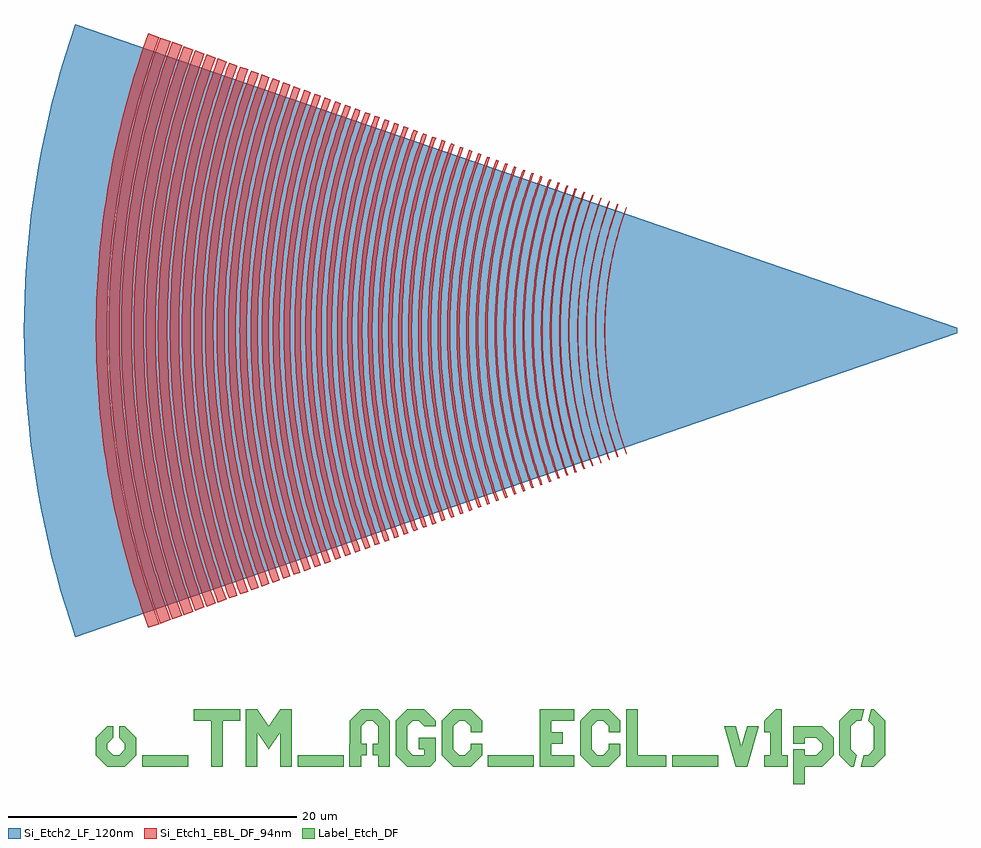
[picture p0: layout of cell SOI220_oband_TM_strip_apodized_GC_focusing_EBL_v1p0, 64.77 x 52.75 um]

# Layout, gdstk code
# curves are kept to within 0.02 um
import gdstk
lib = gdstk.Library(unit=1e-6, precision=1e-09)
def R(c, l, rs):  # rectangles x0, y0, x1, y1
    for r in rs: c.add(gdstk.rectangle(r[:2], r[2:], *l))
def P(c, l, *ps):  # polygons
    for p in ps: c.add(gdstk.Polygon(p, *l))
Si_Etch2_LF_120nm = (3, 0)
Si_Etch1_EBL_DF_94nm = (60, 0)
Label_Etch_DF = (100, 0)

text_gdsfactorypcomponen = lib.new_cell('text_gdsfactorypcomponentsptextsptext_To_TM_AGC_ECL_v1p_81876495')
R(text_gdsfactorypcomponen, Label_Etch_DF, [(3.6,0,6.8,0.8), (14.4,0,17.6,0.8), (27.6,0,30.8,0.8), (40.4,0,43.6,0.8)])
P(text_gdsfactorypcomponen, Label_Etch_DF, [(1.2,0),(0.4,0.8),(0.4,2),(1.2,2.8),(1.6,2.8),(1.6,2),(1.2,1.6),(1.2,1.2),(1.6,0.8),(2,0.8),(2.4,1.2),(2.4,1.6),(2,2),(2,2.8),(2.4,2.8),(3.2,2),(3.2,0.8),(2.4,0)],
  [(44.8,0),(44,2.8),(44.8,2.8),(45.2,1.4),(45.6,2.8),(46.4,2.8),(45.6,0)],
  [(48.8,-1.2),(48.8,1.2),(49.6,1.2),(49.6,0.8),(50.4,0.8),(50.8,1.2),(50.8,1.6),(50.4,2),(49.6,2),(49.6,1.6),(48.8,1.6),(48.8,2.8),(50.8,2.8),(51.6,2),(51.6,0.8),(50.8,0),(49.6,0),(49.6,-1.2)],
  [(8.4,0),(8.4,3.2),(7.2,3.2),(7.2,4),(10.4,4),(10.4,3.2),(9.2,3.2),(9.2,0)],
  [(10.8,0),(10.8,4),(11.6,4),(12.4,2.8),(13.2,4),(14,4),(14,0),(13.2,0),(13.2,2.4),(12.4,1.2),(11.6,2.4),(11.6,0)],
  [(17.996,0),(18,3.2),(18.8,4),(20.004,4),(20.8,3.2),(20.8,0),(20.004,0),(20.004,0.8),(19.6,0.8),(19.6,1.6),(20.004,1.6),(20.004,2.8),(19.6,3.2),(19.2,3.2),(18.8,2.8),(18.8,1.6),(19.2,1.6),(19.2,0.8),(18.8,0.8),(18.8,0)],
  [(22,0),(21.2,0.8),(21.2,3.2),(22,4),(23.2,4),(24,3.2),(24,2.8),(23.2,2.8),(22.8,3.2),(22.4,3.2),(22,2.8),(22,1.2),(22.4,0.8),(23.2,0.8),(23.2,1.2),(22.8,1.2),(22.8,2),(24,2),(24,0.4),(23.6,0)],
  [(25.2,0),(24.4,0.8),(24.4,3.2),(25.2,4),(26.4,4),(27.2,3.2),(27.2,2.4),(26.4,2.4),(26.4,2.8),(26,3.2),(25.6,3.2),(25.2,2.8),(25.2,1.2),(25.6,0.8),(26,0.8),(26.4,1.2),(26.4,1.6),(27.2,1.6),(27.2,0.8),(26.4,0)],
  [(31.2,0),(31.2,4),(33.6,4),(33.6,3.2),(32,3.2),(32,2.4),(32.8,2.4),(32.8,1.6),(32,1.6),(32,0.8),(33.6,0.8),(33.6,0)],
  [(34.8,0),(34,0.8),(34,3.2),(34.8,4),(36,4),(36.8,3.2),(36.8,2.4),(36,2.4),(36,2.8),(35.6,3.2),(35.2,3.2),(34.8,2.8),(34.8,1.2),(35.2,0.8),(35.6,0.8),(36,1.2),(36,1.6),(36.8,1.6),(36.8,0.8),(36,0)],
  [(37.2,0),(37.2,4),(38,4),(38,0.8),(40,0.8),(40,0)],
  [(46.8,0),(46.8,0.8),(47.2,0.8),(47.2,2.4),(46.8,2.4),(46.8,3.2),(47.6,4),(48,4),(48,0.8),(48.4,0.8),(48.4,0)],
  [(52.8,0),(52,0.8),(52,3.2),(52.8,4),(53.72,4),(53.52,3.2),(53.2,3.2),(52.8,2.8),(52.8,1.2),(53.2,0.8),(53,0)],
  [(53.48,0),(53.68,0.8),(54,0.8),(54.4,1.2),(54.4,2.8),(54,3.2),(54.2,4),(54.4,4),(55.2,3.2),(55.2,0.8),(54.4,0)])

soi220_oband_tm_strip_ap = lib.new_cell('SOI220_oband_TM_strip_apodized_GC_focusing_EBL_v1p0')
P(soi220_oband_tm_strip_ap, Si_Etch2_LF_120nm, [(-61.209,-21.276),(-61.914,-19.106),(-62.828,-15.81),(-63.341,-13.587),(-63.776,-11.348),(-64.282,-7.964),(-64.52,-5.696),(-64.61,-4.559),(-64.729,-2.281),(-64.769,0),(-64.729,2.281),(-64.61,4.559),(-64.52,5.696),(-64.282,7.964),(-63.776,11.348),(-63.341,13.587),(-62.828,15.81),(-61.914,19.106),(-61.209,21.276),(0,0.2),(0,-0.2)])
P(soi220_oband_tm_strip_ap, Si_Etch1_EBL_DF_94nm, [(-22.967,-8.571),(-23.114,-8.159),(-23.319,-7.536),(-23.509,-6.908),(-23.625,-6.486),(-23.885,-5.424),(-24.019,-4.781),(-24.098,-4.351),(-24.203,-3.704),(-24.293,-3.054),(-24.384,-2.184),(-24.455,-1.093),(-24.479,0),(-24.455,1.093),(-24.384,2.184),(-24.293,3.054),(-24.203,3.704),(-24.098,4.351),(-24.019,4.781),(-23.885,5.424),(-23.625,6.486),(-23.509,6.908),(-23.319,7.536),(-23.114,8.159),(-22.967,8.571),(-22.911,8.551),(-23.127,7.933),(-23.327,7.309),(-23.51,6.681),(-23.676,6.048),(-23.873,5.198),(-24.076,4.126),(-24.233,3.047),(-24.324,2.179),(-24.395,1.09),(-24.419,0),(-24.395,-1.09),(-24.324,-2.179),(-24.233,-3.047),(-24.076,-4.126),(-23.873,-5.198),(-23.676,-6.048),(-23.51,-6.681),(-23.327,-7.309),(-23.127,-7.933),(-22.911,-8.551)],
  [(-23.572,-8.79),(-23.931,-7.729),(-24.126,-7.085),(-24.245,-6.653),(-24.512,-5.563),(-24.649,-4.905),(-24.73,-4.463),(-24.901,-3.355),(-24.981,-2.686),(-25.023,-2.24),(-25.059,-1.793),(-25.097,-1.121),(-25.121,0),(-25.097,1.121),(-25.059,1.793),(-25.023,2.24),(-24.981,2.686),(-24.901,3.355),(-24.73,4.463),(-24.649,4.905),(-24.512,5.563),(-24.245,6.653),(-24.126,7.085),(-23.931,7.729),(-23.572,8.79),(-23.515,8.77),(-23.736,8.136),(-23.941,7.497),(-24.128,6.853),(-24.299,6.203),(-24.501,5.331),(-24.632,4.673),(-24.709,4.232),(-24.87,3.125),(-24.921,2.68),(-24.982,2.012),(-25.037,1.118),(-25.061,0),(-25.037,-1.118),(-24.982,-2.012),(-24.921,-2.68),(-24.87,-3.125),(-24.709,-4.232),(-24.632,-4.673),(-24.501,-5.331),(-24.299,-6.203),(-24.128,-6.853),(-23.941,-7.497),(-23.736,-8.136),(-23.515,-8.77)],
  [(-24.153,-9.002),(-24.307,-8.57),(-24.523,-7.915),(-24.722,-7.255),(-24.844,-6.812),(-24.959,-6.368),(-25.117,-5.697),(-25.213,-5.248),(-25.341,-4.57),(-25.452,-3.891),(-25.515,-3.436),(-25.572,-2.98),(-25.641,-2.294),(-25.677,-1.836),(-25.716,-1.149),(-25.732,-0.689),(-25.741,0),(-25.732,0.689),(-25.716,1.149),(-25.692,1.607),(-25.641,2.294),(-25.572,2.98),(-25.515,3.436),(-25.452,3.891),(-25.341,4.57),(-25.213,5.248),(-25.117,5.697),(-24.959,6.368),(-24.844,6.812),(-24.722,7.255),(-24.523,7.915),(-24.307,8.57),(-24.153,9.002),(-24.097,8.982),(-24.396,8.115),(-24.6,7.459),(-24.901,6.353),(-25.008,5.908),(-25.154,5.236),(-25.321,4.334),(-25.393,3.882),(-25.485,3.201),(-25.581,2.289),(-25.617,1.832),(-25.656,1.146),(-25.677,0.458),(-25.681,0),(-25.677,-0.458),(-25.656,-1.146),(-25.617,-1.832),(-25.581,-2.289),(-25.485,-3.201),(-25.393,-3.882),(-25.321,-4.334),(-25.154,-5.236),(-25.008,-5.908),(-24.901,-6.353),(-24.6,-7.459),(-24.396,-8.115),(-24.097,-8.982)],
  [(-24.735,-9.214),(-24.892,-8.772),(-25.113,-8.101),(-25.251,-7.652),(-25.442,-6.973),(-25.56,-6.517),(-25.722,-5.831),(-25.951,-4.678),(-26.064,-3.982),(-26.16,-3.283),(-26.258,-2.348),(-26.295,-1.879),(-26.334,-1.176),(-26.351,-0.706),(-26.36,0),(-26.351,0.706),(-26.334,1.176),(-26.295,1.879),(-26.258,2.348),(-26.16,3.283),(-26.064,3.982),(-25.951,4.678),(-25.722,5.831),(-25.56,6.517),(-25.442,6.973),(-25.251,7.652),(-25.113,8.101),(-24.892,8.772),(-24.735,9.214),(-24.679,9.194),(-24.911,8.529),(-25.125,7.859),(-25.322,7.184),(-25.502,6.503),(-25.713,5.589),(-25.892,4.668),(-26.005,3.973),(-26.07,3.509),(-26.153,2.81),(-26.198,2.343),(-26.235,1.875),(-26.274,1.173),(-26.291,0.704),(-26.3,0),(-26.291,-0.704),(-26.274,-1.173),(-26.235,-1.875),(-26.198,-2.343),(-26.153,-2.81),(-26.07,-3.509),(-26.005,-3.973),(-25.892,-4.668),(-25.713,-5.589),(-25.502,-6.503),(-25.322,-7.184),(-25.125,-7.859),(-24.911,-8.529),(-24.679,-9.194)],
  [(-25.32,-9.427),(-25.707,-8.288),(-26.043,-7.133),(-26.328,-5.965),(-26.476,-5.26),(-26.563,-4.786),(-26.746,-3.597),(-26.877,-2.402),(-26.956,-1.202),(-26.982,0),(-26.956,1.202),(-26.877,2.402),(-26.746,3.597),(-26.563,4.786),(-26.476,5.26),(-26.328,5.965),(-26.043,7.133),(-25.707,8.288),(-25.32,9.427),(-25.253,9.403),(-25.49,8.723),(-25.71,8.038),(-25.911,7.347),(-26.094,6.651),(-26.359,5.481),(-26.534,4.537),(-26.706,3.35),(-26.826,2.157),(-26.885,1.199),(-26.911,0),(-26.885,-1.199),(-26.826,-2.157),(-26.706,-3.35),(-26.534,-4.537),(-26.359,-5.481),(-26.094,-6.651),(-25.911,-7.347),(-25.71,-8.038),(-25.49,-8.723),(-25.253,-9.403)],
  [(-25.922,-9.645),(-26.317,-8.481),(-26.724,-7.062),(-27.006,-5.863),(-27.236,-4.655),(-27.412,-3.437),(-27.515,-2.458),(-27.595,-1.231),(-27.622,0),(-27.595,1.231),(-27.515,2.458),(-27.412,3.437),(-27.236,4.655),(-27.006,5.863),(-26.724,7.062),(-26.317,8.481),(-25.922,9.645),(-25.821,9.609),(-26.215,8.449),(-26.558,7.272),(-26.849,6.081),(-27.13,4.637),(-27.306,3.424),(-27.408,2.449),(-27.488,1.226),(-27.515,0),(-27.488,-1.226),(-27.408,-2.449),(-27.306,-3.424),(-27.13,-4.637),(-26.849,-6.081),(-26.558,-7.272),(-26.215,-8.449),(-25.821,-9.609)],
  [(-26.52,-9.864),(-26.925,-8.673),(-27.276,-7.465),(-27.575,-6.242),(-27.821,-5.008),(-28.012,-3.765),(-28.15,-2.513),(-28.232,-1.258),(-28.259,0),(-28.232,1.258),(-28.15,2.513),(-28.012,3.765),(-27.821,5.008),(-27.575,6.242),(-27.276,7.465),(-26.925,8.673),(-26.52,9.864),(-26.409,9.824),(-26.812,8.637),(-27.226,7.191),(-27.513,5.972),(-27.747,4.74),(-27.927,3.5),(-28.032,2.503),(-28.114,1.253),(-28.141,0),(-28.114,-1.253),(-28.032,-2.503),(-27.927,-3.5),(-27.747,-4.74),(-27.513,-5.972),(-27.226,-7.191),(-26.812,-8.637),(-26.409,-9.824)],
  [(-27.105,-10.076),(-27.518,-8.86),(-27.877,-7.626),(-28.238,-6.125),(-28.433,-5.116),(-28.629,-3.846),(-28.769,-2.568),(-28.853,-1.285),(-28.881,0),(-28.853,1.285),(-28.769,2.568),(-28.629,3.846),(-28.433,5.116),(-28.238,6.125),(-27.877,7.626),(-27.518,8.86),(-27.105,10.076),(-27,10.039),(-27.412,8.826),(-27.835,7.349),(-28.129,6.102),(-28.409,4.592),(-28.551,3.577),(-28.68,2.303),(-28.742,1.28),(-28.77,0),(-28.742,-1.28),(-28.68,-2.303),(-28.551,-3.577),(-28.409,-4.592),(-28.129,-6.102),(-27.835,-7.349),(-27.412,-8.826),(-27,-10.039)],
  [(-27.715,-10.298),(-28.137,-9.054),(-28.504,-7.793),(-28.817,-6.517),(-29.073,-5.228),(-29.273,-3.93),(-29.438,-2.362),(-29.512,-1.051),(-29.53,0),(-29.512,1.051),(-29.438,2.362),(-29.273,3.93),(-29.073,5.228),(-28.817,6.517),(-28.504,7.793),(-28.137,9.054),(-27.715,10.298),(-27.583,10.251),(-28.003,9.012),(-28.369,7.757),(-28.68,6.487),(-28.979,4.947),(-29.167,3.653),(-29.298,2.351),(-29.372,1.046),(-29.39,0),(-29.372,-1.046),(-29.298,-2.351),(-29.167,-3.653),(-28.979,-4.947),(-28.68,-6.487),(-28.369,-7.757),(-28.003,-9.012),(-27.583,-10.251)],
  [(-28.309,-10.515),(-28.74,-9.245),(-29.115,-7.957),(-29.434,-6.654),(-29.696,-5.339),(-29.9,-4.013),(-30.046,-2.68),(-30.134,-1.341),(-30.163,0),(-30.134,1.341),(-30.046,2.68),(-29.9,4.013),(-29.696,5.339),(-29.434,6.654),(-29.115,7.957),(-28.74,9.245),(-28.309,10.515),(-28.184,10.47),(-28.613,9.205),(-28.987,7.923),(-29.361,6.364),(-29.61,5.052),(-29.802,3.731),(-29.914,2.668),(-30.001,1.335),(-30.03,0),(-30.001,-1.335),(-29.914,-2.668),(-29.802,-3.731),(-29.61,-5.052),(-29.361,-6.364),(-28.987,-7.923),(-28.613,-9.205),(-28.184,-10.47)],
  [(-28.918,-10.737),(-29.359,-9.44),(-29.742,-8.125),(-30.068,-6.795),(-30.335,-5.451),(-30.544,-4.098),(-30.716,-2.463),(-30.793,-1.096),(-30.812,0),(-30.793,1.096),(-30.716,2.463),(-30.544,4.098),(-30.335,5.451),(-30.068,6.795),(-29.742,8.125),(-29.359,9.44),(-28.918,10.737),(-28.783,10.688),(-29.222,9.397),(-29.673,7.824),(-29.985,6.497),(-30.239,5.158),(-30.435,3.808),(-30.572,2.452),(-30.649,1.091),(-30.668,0),(-30.649,-1.091),(-30.572,-2.452),(-30.435,-3.808),(-30.239,-5.158),(-29.985,-6.497),(-29.673,-7.824),(-29.222,-9.397),(-28.783,-10.688)],
  [(-29.522,-10.955),(-29.97,-9.633),(-30.361,-8.291),(-30.694,-6.933),(-30.967,-5.563),(-31.179,-4.182),(-31.331,-2.792),(-31.423,-1.397),(-31.453,0),(-31.423,1.397),(-31.331,2.792),(-31.179,4.182),(-30.967,5.563),(-30.694,6.933),(-30.361,8.291),(-29.97,9.633),(-29.522,10.955),(-29.387,10.907),(-29.917,9.324),(-30.294,7.985),(-30.613,6.631),(-30.873,5.264),(-31.072,3.887),(-31.212,2.502),(-31.291,1.113),(-31.31,0),(-31.291,-1.113),(-31.212,-2.502),(-31.072,-3.887),(-30.873,-5.264),(-30.613,-6.631),(-30.294,-7.985),(-29.917,-9.324),(-29.387,-10.907)],
  [(-30.126,-11.176),(-30.585,-9.827),(-30.984,-8.458),(-31.322,-7.073),(-31.601,-5.674),(-31.818,-4.266),(-31.997,-2.564),(-32.066,-1.426),(-32.097,0),(-32.066,1.426),(-31.997,2.564),(-31.818,4.266),(-31.601,5.674),(-31.322,7.073),(-30.984,8.458),(-30.585,9.827),(-30.126,11.176),(-29.984,11.125),(-30.441,9.781),(-30.91,8.144),(-31.293,6.485),(-31.546,5.088),(-31.704,3.964),(-31.846,2.552),(-31.915,1.419),(-31.946,0),(-31.915,-1.419),(-31.846,-2.552),(-31.704,-3.964),(-31.546,-5.088),(-31.293,-6.485),(-30.91,-8.144),(-30.441,-9.781),(-29.984,-11.125)],
  [(-30.742,-11.399),(-31.209,-10.023),(-31.616,-8.627),(-31.962,-7.214),(-32.246,-5.788),(-32.467,-4.351),(-32.625,-2.905),(-32.72,-1.454),(-32.752,0),(-32.72,1.454),(-32.625,2.905),(-32.467,4.351),(-32.246,5.788),(-31.962,7.214),(-31.616,8.627),(-31.209,10.023),(-30.742,11.399),(-30.588,11.344),(-31.139,9.698),(-31.531,8.305),(-31.922,6.613),(-32.18,5.189),(-32.375,3.755),(-32.486,2.602),(-32.568,1.158),(-32.588,0),(-32.568,-1.158),(-32.486,-2.602),(-32.375,-3.755),(-32.18,-5.189),(-31.922,-6.613),(-31.531,-8.305),(-31.139,-9.698),(-30.588,-11.344)],
  [(-31.364,-11.625),(-31.84,-10.222),(-32.255,-8.799),(-32.607,-7.358),(-32.896,-5.902),(-33.123,-4.437),(-33.283,-2.963),(-33.381,-1.482),(-33.413,0),(-33.381,1.482),(-33.283,2.963),(-33.123,4.437),(-32.896,5.902),(-32.607,7.358),(-32.255,8.799),(-31.84,10.222),(-31.364,11.625),(-31.198,11.566),(-31.672,10.169),(-32.16,8.467),(-32.498,7.031),(-32.821,5.29),(-33.02,3.828),(-33.133,2.653),(-33.205,1.475),(-33.237,0),(-33.205,-1.475),(-33.133,-2.653),(-33.02,-3.828),(-32.821,-5.29),(-32.498,-7.031),(-32.16,-8.467),(-31.672,-10.169),(-31.198,-11.566)],
  [(-31.984,-11.852),(-32.47,-10.421),(-32.893,-8.969),(-33.253,-7.501),(-33.547,-6.018),(-33.777,-4.523),(-33.942,-3.02),(-34.041,-1.512),(-34.074,0),(-34.041,1.512),(-33.942,3.02),(-33.777,4.523),(-33.547,6.018),(-33.253,7.501),(-32.893,8.969),(-32.47,10.421),(-31.984,11.852),(-31.81,11.789),(-32.294,10.365),(-32.791,8.631),(-33.136,7.167),(-33.465,5.392),(-33.632,4.201),(-33.783,2.704),(-33.868,1.203),(-33.889,0),(-33.868,-1.203),(-33.783,-2.704),(-33.632,-4.201),(-33.465,-5.392),(-33.136,-7.167),(-32.791,-8.631),(-32.294,-10.365),(-31.81,-11.789)],
  [(-32.602,-12.077),(-33.098,-10.618),(-33.528,-9.139),(-33.895,-7.643),(-34.195,-6.132),(-34.43,-4.609),(-34.597,-3.078),(-34.699,-1.541),(-34.732,0),(-34.699,1.541),(-34.597,3.078),(-34.43,4.609),(-34.195,6.132),(-33.895,7.643),(-33.528,9.139),(-33.098,10.618),(-32.602,12.077),(-32.42,12.011),(-32.913,10.56),(-33.419,8.793),(-33.771,7.302),(-34.106,5.494),(-34.312,3.976),(-34.43,2.755),(-34.517,1.226),(-34.538,0),(-34.517,-1.226),(-34.43,-2.755),(-34.312,-3.976),(-34.106,-5.494),(-33.771,-7.302),(-33.419,-8.793),(-32.913,-10.56),(-32.42,-12.011)],
  [(-33.225,-12.303),(-33.729,-10.818),(-34.168,-9.311),(-34.541,-7.787),(-34.848,-6.247),(-35.086,-4.696),(-35.257,-3.135),(-35.36,-1.569),(-35.394,0),(-35.36,1.569),(-35.257,3.135),(-35.086,4.696),(-34.848,6.247),(-34.541,7.787),(-34.168,9.311),(-33.729,10.818),(-33.225,12.303),(-33.031,12.234),(-33.533,10.756),(-34.049,8.956),(-34.47,7.131),(-34.748,5.596),(-34.958,4.049),(-35.078,2.806),(-35.154,1.56),(-35.188,0),(-35.154,-1.56),(-35.078,-2.806),(-34.958,-4.049),(-34.748,-5.596),(-34.47,-7.131),(-34.049,-8.956),(-33.533,-10.756),(-33.031,-12.234)],
  [(-33.851,-12.531),(-34.365,-11.019),(-34.812,-9.484),(-35.193,-7.931),(-35.505,-6.363),(-35.747,-4.783),(-35.921,-3.193),(-36.026,-1.599),(-36.061,0),(-36.026,1.599),(-35.921,3.193),(-35.747,4.783),(-35.505,6.363),(-35.193,7.931),(-34.812,9.484),(-34.365,11.019),(-33.851,12.531),(-33.645,12.457),(-34.156,10.953),(-34.682,9.12),(-35.111,7.262),(-35.394,5.698),(-35.571,4.439),(-35.73,2.858),(-35.82,1.271),(-35.842,0),(-35.82,-1.271),(-35.73,-2.858),(-35.571,-4.439),(-35.394,-5.698),(-35.111,-7.262),(-34.682,-9.12),(-34.156,-10.953),(-33.645,-12.457)],
  [(-34.484,-12.761),(-35.007,-11.221),(-35.462,-9.658),(-35.85,-8.076),(-36.168,-6.479),(-36.415,-4.87),(-36.592,-3.252),(-36.699,-1.628),(-36.734,0),(-36.699,1.628),(-36.592,3.252),(-36.415,4.87),(-36.168,6.479),(-35.85,8.076),(-35.462,9.658),(-35.007,11.221),(-34.484,12.761),(-34.266,12.683),(-34.882,10.842),(-35.321,9.285),(-35.758,7.393),(-36.045,5.801),(-36.226,4.519),(-36.388,2.909),(-36.467,1.618),(-36.502,0),(-36.467,-1.618),(-36.388,-2.909),(-36.226,-4.519),(-36.045,-5.801),(-35.758,-7.393),(-35.321,-9.285),(-34.882,-10.842),(-34.266,-12.683)],
  [(-35.121,-12.994),(-35.655,-11.425),(-36.119,-9.834),(-36.512,-8.223),(-36.836,-6.597),(-37.088,-4.959),(-37.268,-3.312),(-37.377,-1.658),(-37.413,0),(-37.377,1.658),(-37.268,3.312),(-37.088,4.959),(-36.836,6.597),(-36.512,8.223),(-36.119,9.834),(-35.655,11.425),(-35.121,12.994),(-34.891,12.911),(-35.519,11.037),(-35.966,9.452),(-36.41,7.526),(-36.703,5.905),(-36.887,4.6),(-37.052,2.962),(-37.145,1.317),(-37.168,0),(-37.145,-1.317),(-37.052,-2.962),(-36.887,-4.6),(-36.703,-5.905),(-36.41,-7.526),(-35.966,-9.452),(-35.519,-11.037),(-34.891,-12.911)],
  [(-35.766,-13.227),(-36.308,-11.631),(-36.78,-10.011),(-37.181,-8.372),(-37.51,-6.717),(-37.767,-5.049),(-37.951,-3.372),(-38.061,-1.688),(-38.098,0),(-38.061,1.688),(-37.951,3.372),(-37.767,5.049),(-37.51,6.717),(-37.181,8.372),(-36.78,10.011),(-36.308,11.631),(-35.766,13.227),(-35.522,13.14),(-36.061,11.553),(-36.615,9.62),(-37.068,7.66),(-37.366,6.01),(-37.553,4.682),(-37.721,3.014),(-37.816,1.341),(-37.839,0),(-37.816,-1.341),(-37.721,-3.014),(-37.553,-4.682),(-37.366,-6.01),(-37.068,-7.66),(-36.615,-9.62),(-36.061,-11.553),(-35.522,-13.14)],
  [(-36.414,-13.464),(-36.965,-11.839),(-37.447,-10.19),(-37.855,-8.521),(-38.19,-6.836),(-38.452,-5.139),(-38.638,-3.432),(-38.751,-1.717),(-38.788,0),(-38.751,1.717),(-38.638,3.432),(-38.452,5.139),(-38.19,6.836),(-37.855,8.521),(-37.447,10.19),(-36.965,11.839),(-36.414,13.464),(-36.158,13.372),(-36.808,11.431),(-37.271,9.789),(-37.662,8.129),(-38.035,6.116),(-38.225,4.765),(-38.395,3.068),(-38.479,1.705),(-38.516,0),(-38.479,-1.705),(-38.395,-3.068),(-38.225,-4.765),(-38.035,-6.116),(-37.662,-8.129),(-37.271,-9.789),(-36.808,-11.431),(-36.158,-13.372)],
  [(-37.068,-13.702),(-37.63,-12.048),(-38.119,-10.37),(-38.534,-8.672),(-38.876,-6.957),(-39.142,-5.229),(-39.332,-3.492),(-39.446,-1.748),(-39.484,0),(-39.446,1.748),(-39.332,3.492),(-39.142,5.229),(-38.876,6.957),(-38.534,8.672),(-38.119,10.37),(-37.63,12.048),(-37.068,13.702),(-36.799,13.605),(-37.357,11.962),(-37.931,9.96),(-38.329,8.271),(-38.708,6.223),(-38.942,4.503),(-39.075,3.121),(-39.174,1.388),(-39.198,0),(-39.174,-1.388),(-39.075,-3.121),(-38.942,-4.503),(-38.708,-6.223),(-38.329,-8.271),(-37.931,-9.96),(-37.357,-11.962),(-36.799,-13.605)],
  [(-37.727,-13.941),(-38.298,-12.258),(-38.796,-10.551),(-39.219,-8.823),(-39.565,-7.079),(-39.836,-5.321),(-40.03,-3.553),(-40.146,-1.778),(-40.185,0),(-40.146,1.778),(-40.03,3.553),(-39.836,5.321),(-39.565,7.079),(-39.219,8.823),(-38.796,10.551),(-38.298,12.258),(-37.727,13.941),(-37.445,13.84),(-38.117,11.831),(-38.596,10.132),(-39.073,8.068),(-39.387,6.33),(-39.625,4.581),(-39.76,3.175),(-39.86,1.412),(-39.885,0),(-39.86,-1.412),(-39.76,-3.175),(-39.625,-4.581),(-39.387,-6.33),(-39.073,-8.068),(-38.596,-10.132),(-38.117,-11.831),(-37.445,-13.84)],
  [(-38.391,-14.183),(-38.972,-12.47),(-39.478,-10.733),(-39.908,-8.976),(-40.261,-7.202),(-40.536,-5.413),(-40.733,-3.614),(-40.852,-1.809),(-40.891,0),(-40.852,1.809),(-40.733,3.614),(-40.536,5.413),(-40.261,7.202),(-39.908,8.976),(-39.478,10.733),(-38.972,12.47),(-38.391,14.183),(-38.095,14.077),(-38.779,12.033),(-39.266,10.305),(-39.751,8.206),(-40.125,6.084),(-40.352,4.302),(-40.477,2.871),(-40.552,1.436),(-40.577,0),(-40.552,-1.436),(-40.477,-2.871),(-40.352,-4.302),(-40.125,-6.084),(-39.751,-8.206),(-39.266,-10.305),(-38.779,-12.033),(-38.095,-14.077)],
  [(-39.058,-14.425),(-39.649,-12.684),(-40.164,-10.918),(-40.601,-9.13),(-40.96,-7.325),(-41.24,-5.506),(-41.441,-3.677),(-41.561,-1.84),(-41.601,0),(-41.561,1.84),(-41.441,3.677),(-41.24,5.506),(-40.96,7.325),(-40.601,9.13),(-40.164,10.918),(-39.649,12.684),(-39.058,14.425),(-38.749,14.315),(-39.336,12.586),(-39.94,10.479),(-40.433,8.344),(-40.758,6.547),(-41.004,4.738),(-41.144,3.284),(-41.248,1.461),(-41.273,0),(-41.248,-1.461),(-41.144,-3.284),(-41.004,-4.738),(-40.758,-6.547),(-40.433,-8.344),(-39.94,-10.479),(-39.336,-12.586),(-38.749,-14.315)],
  [(-39.731,-14.67),(-40.331,-12.9),(-40.855,-11.103),(-41.3,-9.285),(-41.665,-7.45),(-41.95,-5.6),(-42.154,-3.739),(-42.276,-1.871),(-42.317,0),(-42.276,1.871),(-42.154,3.739),(-41.95,5.6),(-41.665,7.45),(-41.3,9.285),(-40.855,11.103),(-40.331,12.9),(-39.731,14.67),(-39.408,14.555),(-40.115,12.442),(-40.619,10.655),(-41.12,8.484),(-41.507,6.29),(-41.7,4.817),(-41.843,3.339),(-41.948,1.485),(-41.974,0),(-41.948,-1.485),(-41.843,-3.339),(-41.7,-4.817),(-41.507,-6.29),(-41.12,-8.484),(-40.619,-10.655),(-40.115,-12.442),(-39.408,-14.555)],
  [(-40.408,-14.917),(-41.019,-13.117),(-41.552,-11.29),(-42.004,-9.441),(-42.376,-7.574),(-42.665,-5.694),(-42.872,-3.801),(-42.997,-1.903),(-43.038,0),(-42.997,1.903),(-42.872,3.801),(-42.665,5.694),(-42.376,7.574),(-42.004,9.441),(-41.552,11.29),(-41.019,13.117),(-40.408,14.917),(-40.071,14.796),(-40.79,12.648),(-41.395,10.466),(-41.812,8.625),(-42.205,6.394),(-42.402,4.897),(-42.575,3.018),(-42.654,1.51),(-42.68,0),(-42.654,-1.51),(-42.575,-3.018),(-42.402,-4.897),(-42.205,-6.394),(-41.812,-8.625),(-41.395,-10.466),(-40.79,-12.648),(-40.071,-14.796)],
  [(-41.091,-15.166),(-41.713,-13.336),(-42.254,-11.478),(-42.714,-9.598),(-43.091,-7.701),(-43.386,-5.788),(-43.597,-3.864),(-43.723,-1.934),(-43.765,0),(-43.723,1.934),(-43.597,3.864),(-43.386,5.788),(-43.091,7.701),(-42.714,9.598),(-42.254,11.478),(-41.713,13.336),(-41.091,15.166),(-40.739,15.039),(-41.47,12.856),(-42.085,10.638),(-42.583,8.39),(-42.908,6.499),(-43.15,4.596),(-43.284,3.067),(-43.364,1.535),(-43.391,0),(-43.364,-1.535),(-43.284,-3.067),(-43.15,-4.596),(-42.908,-6.499),(-42.583,-8.39),(-42.085,-10.638),(-41.47,-12.856),(-40.739,-15.039)],
  [(-41.78,-15.417),(-42.412,-13.555),(-42.962,-11.667),(-43.43,-9.756),(-43.813,-7.828),(-44.113,-5.884),(-44.327,-3.929),(-44.455,-1.966),(-44.498,0),(-44.455,1.966),(-44.327,3.929),(-44.113,5.884),(-43.813,7.828),(-43.43,9.756),(-42.962,11.667),(-42.412,13.555),(-41.78,15.417),(-41.413,15.285),(-42.155,13.066),(-42.781,10.811),(-43.211,8.91),(-43.617,6.605),(-43.821,5.059),(-43.999,3.117),(-44.081,1.56),(-44.108,0),(-44.081,-1.56),(-43.999,-3.117),(-43.821,-5.059),(-43.617,-6.605),(-43.211,-8.91),(-42.781,-10.811),(-42.155,-13.066),(-41.413,-15.285)],
  [(-42.474,-15.669),(-43.116,-13.778),(-43.676,-11.858),(-44.151,-9.917),(-44.541,-7.956),(-44.844,-5.98),(-45.062,-3.993),(-45.194,-1.998),(-45.237,0),(-45.194,1.998),(-45.062,3.993),(-44.844,5.98),(-44.541,7.956),(-44.151,9.917),(-43.676,11.858),(-43.116,13.778),(-42.474,15.669),(-42.092,15.532),(-42.847,13.277),(-43.385,11.37),(-43.919,9.054),(-44.332,6.712),(-44.539,5.141),(-44.691,3.563),(-44.788,1.981),(-44.831,0),(-44.788,-1.981),(-44.691,-3.563),(-44.539,-5.141),(-44.332,-6.712),(-43.919,-9.054),(-43.385,-11.37),(-42.847,-13.277),(-42.092,-15.532)],
  [(-43.175,-15.924),(-43.827,-14.002),(-44.397,-12.051),(-44.879,-10.079),(-45.276,-8.085),(-45.584,-6.078),(-45.805,-4.058),(-45.939,-2.031),(-45.983,0),(-45.939,2.031),(-45.805,4.058),(-45.584,6.078),(-45.276,8.085),(-44.879,10.079),(-44.397,12.051),(-43.827,14.002),(-43.175,15.924),(-42.777,15.781),(-43.544,13.49),(-44.09,11.553),(-44.634,9.199),(-45.053,6.82),(-45.307,4.823),(-45.448,3.219),(-45.532,1.61),(-45.56,0),(-45.532,-1.61),(-45.448,-3.219),(-45.307,-4.823),(-45.053,-6.82),(-44.634,-9.199),(-44.09,-11.553),(-43.544,-13.49),(-42.777,-15.781)],
  [(-43.882,-16.181),(-44.545,-14.228),(-45.123,-12.246),(-45.614,-10.241),(-46.016,-8.216),(-46.33,-6.177),(-46.555,-4.124),(-46.69,-2.064),(-46.735,0),(-46.69,2.064),(-46.555,4.124),(-46.33,6.177),(-46.016,8.216),(-45.614,10.241),(-45.123,12.246),(-44.545,14.228),(-43.882,16.181),(-43.468,16.033),(-44.247,13.705),(-44.903,11.34),(-45.434,8.944),(-45.78,6.929),(-45.994,5.307),(-46.181,3.27),(-46.266,1.636),(-46.295,0),(-46.266,-1.636),(-46.181,-3.27),(-45.994,-5.307),(-45.78,-6.929),(-45.434,-8.944),(-44.903,-11.34),(-44.247,-13.705),(-43.468,-16.033)],
  [(-44.594,-16.441),(-45.268,-14.457),(-45.854,-12.442),(-46.353,-10.404),(-46.763,-8.348),(-47.082,-6.274),(-47.31,-4.19),(-47.448,-2.097),(-47.493,0),(-47.448,2.097),(-47.31,4.19),(-47.082,6.274),(-46.763,8.348),(-46.353,10.404),(-45.854,12.442),(-45.268,14.457),(-44.594,16.441),(-44.164,16.286),(-44.955,13.922),(-45.622,11.52),(-46.161,9.086),(-46.513,7.038),(-46.73,5.39),(-46.92,3.322),(-47.007,1.662),(-47.036,0),(-47.007,-1.662),(-46.92,-3.322),(-46.73,-5.39),(-46.513,-7.038),(-46.161,-9.086),(-45.622,-11.52),(-44.955,-13.922),(-44.164,-16.286)],
  [(-45.312,-16.702),(-45.997,-14.686),(-46.593,-12.64),(-47.1,-10.571),(-47.515,-8.481),(-47.839,-6.375),(-48.071,-4.257),(-48.211,-2.131),(-48.257,0),(-48.211,2.131),(-48.071,4.257),(-47.839,6.375),(-47.515,8.481),(-47.1,10.571),(-46.593,12.64),(-45.997,14.686),(-45.312,16.702),(-44.865,16.541),(-45.544,14.543),(-46.242,12.109),(-46.811,9.642),(-47.251,7.149),(-47.471,5.475),(-47.633,3.795),(-47.753,1.688),(-47.782,0),(-47.753,-1.688),(-47.633,-3.795),(-47.471,-5.475),(-47.251,-7.149),(-46.811,-9.642),(-46.242,-12.109),(-45.544,-14.543),(-44.865,-16.541)],
  [(-46.038,-16.966),(-46.733,-14.918),(-47.338,-12.84),(-47.853,-10.738),(-48.276,-8.614),(-48.605,-6.476),(-48.84,-4.324),(-48.982,-2.163),(-49.029,0),(-48.982,2.163),(-48.84,4.324),(-48.605,6.476),(-48.276,8.614),(-47.853,10.738),(-47.338,12.84),(-46.733,14.918),(-46.038,16.966),(-45.573,16.799),(-46.262,14.769),(-46.971,12.298),(-47.549,9.792),(-47.996,7.26),(-48.219,5.56),(-48.384,3.854),(-48.505,1.714),(-48.535,0),(-48.505,-1.714),(-48.384,-3.854),(-48.219,-5.56),(-47.996,-7.26),(-47.549,-9.792),(-46.971,-12.298),(-46.262,-14.769),(-45.573,-16.799)],
  [(-46.77,-17.232),(-47.476,-15.152),(-48.092,-13.042),(-48.614,-10.906),(-49.042,-8.75),(-49.377,-6.577),(-49.616,-4.392),(-49.761,-2.198),(-49.808,0),(-49.761,2.198),(-49.616,4.392),(-49.377,6.577),(-49.042,8.75),(-48.614,10.906),(-48.092,13.042),(-47.476,15.152),(-46.77,17.232),(-46.287,17.059),(-46.987,14.998),(-47.706,12.488),(-48.294,9.944),(-48.747,7.372),(-49.022,5.213),(-49.174,3.479),(-49.265,1.741),(-49.295,0),(-49.265,-1.741),(-49.174,-3.479),(-49.022,-5.213),(-48.747,-7.372),(-48.294,-9.944),(-47.706,-12.488),(-46.987,-14.998),(-46.287,-17.059)],
  [(-47.509,-17.5),(-48.225,-15.389),(-48.85,-13.245),(-49.381,-11.076),(-49.817,-8.886),(-50.156,-6.68),(-50.399,-4.46),(-50.546,-2.232),(-50.594,0),(-50.546,2.232),(-50.399,4.46),(-50.156,6.68),(-49.817,8.886),(-49.381,11.076),(-48.85,13.245),(-48.225,15.389),(-47.509,17.5),(-47.008,17.321),(-47.849,14.807),(-48.558,12.252),(-49.132,9.663),(-49.506,7.486),(-49.785,5.294),(-49.939,3.533),(-50.031,1.767),(-50.062,0),(-50.031,-1.767),(-49.939,-3.533),(-49.785,-5.294),(-49.506,-7.486),(-49.132,-9.663),(-48.558,-12.252),(-47.849,-14.807),(-47.008,-17.321)],
  [(-48.253,-17.772),(-48.982,-15.627),(-49.616,-13.45),(-50.155,-11.247),(-50.598,-9.024),(-50.942,-6.783),(-51.189,-4.53),(-51.337,-2.267),(-51.387,0),(-51.337,2.267),(-51.189,4.53),(-50.942,6.783),(-50.598,9.024),(-50.155,11.247),(-49.616,13.45),(-48.982,15.627),(-48.253,17.772),(-47.734,17.585),(-48.455,15.461),(-49.083,13.307),(-49.616,11.128),(-50.054,8.928),(-50.395,6.711),(-50.639,4.481),(-50.786,2.243),(-50.835,0),(-50.786,-2.243),(-50.639,-4.481),(-50.395,-6.711),(-50.054,-8.928),(-49.616,-11.128),(-49.083,-13.307),(-48.455,-15.461),(-47.734,-17.585)],
  [(-49.005,-18.045),(-49.744,-15.868),(-50.389,-13.657),(-50.936,-11.421),(-51.385,-9.163),(-51.735,-6.888),(-51.986,-4.599),(-52.136,-2.302),(-52.187,0),(-52.136,2.302),(-51.986,4.599),(-51.735,6.888),(-51.385,9.163),(-50.936,11.421),(-50.389,13.657),(-49.744,15.868),(-49.005,18.045),(-48.467,17.852),(-49.199,15.696),(-49.836,13.509),(-50.378,11.297),(-50.822,9.064),(-51.168,6.813),(-51.416,4.549),(-51.565,2.277),(-51.615,0),(-51.565,-2.277),(-51.416,-4.549),(-51.168,-6.813),(-50.822,-9.064),(-50.378,-11.297),(-49.836,-13.509),(-49.199,-15.696),(-48.467,-17.852)],
  [(-49.765,-18.321),(-50.516,-16.11),(-51.17,-13.866),(-51.725,-11.596),(-52.181,-9.303),(-52.537,-6.994),(-52.791,-4.67),(-52.944,-2.337),(-52.995,0),(-52.944,2.337),(-52.791,4.67),(-52.537,6.994),(-52.181,9.303),(-51.725,11.596),(-51.17,13.866),(-50.516,16.11),(-49.765,18.321),(-49.207,18.121),(-49.95,15.932),(-50.597,13.713),(-51.146,11.468),(-51.597,9.2),(-51.949,6.916),(-52.2,4.618),(-52.352,2.311),(-52.402,0),(-52.352,-2.311),(-52.2,-4.618),(-51.949,-6.916),(-51.597,-9.2),(-51.146,-11.468),(-50.597,-13.713),(-49.95,-15.932),(-49.207,-18.121)],
  [(-50.532,-18.6),(-51.294,-16.356),(-51.958,-14.078),(-52.521,-11.772),(-52.985,-9.445),(-53.346,-7.099),(-53.604,-4.741),(-53.759,-2.373),(-53.811,0),(-53.759,2.373),(-53.604,4.741),(-53.346,7.099),(-52.985,9.445),(-52.521,11.772),(-51.958,14.078),(-51.294,16.356),(-50.532,18.6),(-49.953,18.393),(-50.707,16.171),(-51.364,13.919),(-51.921,11.639),(-52.379,9.338),(-52.736,7.019),(-52.991,4.687),(-53.145,2.346),(-53.196,0),(-53.145,-2.346),(-52.991,-4.687),(-52.736,-7.019),(-52.379,-9.338),(-51.921,-11.639),(-51.364,-13.919),(-50.707,-16.171),(-49.953,-18.393)],
  [(-51.305,-18.882),(-52.08,-16.603),(-52.753,-14.291),(-53.326,-11.951),(-53.796,-9.588),(-54.163,-7.207),(-54.425,-4.813),(-54.582,-2.409),(-54.635,0),(-54.582,2.409),(-54.425,4.813),(-54.163,7.207),(-53.796,9.588),(-53.326,11.951),(-52.753,14.291),(-52.08,16.603),(-51.305,18.882),(-50.706,18.667),(-51.472,16.412),(-52.138,14.126),(-52.704,11.813),(-53.169,9.478),(-53.531,7.124),(-53.79,4.757),(-53.946,2.381),(-53.998,0),(-53.946,-2.381),(-53.79,-4.757),(-53.531,-7.124),(-53.169,-9.478),(-52.704,-11.813),(-52.138,-14.126),(-51.472,-16.412),(-50.706,-18.667)],
  [(-52.089,-19.167),(-52.873,-16.855),(-53.559,-14.507),(-54.139,-12.131),(-54.617,-9.732),(-54.988,-7.316),(-55.255,-4.884),(-55.414,-2.445),(-55.468,0),(-55.414,2.445),(-55.255,4.884),(-54.988,7.316),(-54.617,9.732),(-54.139,12.131),(-53.559,14.507),(-52.873,16.855),(-52.089,19.167),(-51.468,18.944),(-52.244,16.656),(-52.921,14.336),(-53.495,11.988),(-53.967,9.618),(-54.334,7.23),(-54.597,4.827),(-54.755,2.416),(-54.808,0),(-54.755,-2.416),(-54.597,-4.827),(-54.334,-7.23),(-53.967,-9.618),(-53.495,-11.988),(-52.921,-14.336),(-52.244,-16.656),(-51.468,-18.944)],
  [(-52.879,-19.455),(-53.676,-17.107),(-54.371,-14.724),(-54.961,-12.313),(-55.445,-9.878),(-55.822,-7.425),(-56.092,-4.959),(-56.255,-2.482),(-56.309,0),(-56.255,2.482),(-56.092,4.959),(-55.822,7.425),(-55.445,9.878),(-54.961,12.313),(-54.371,14.724),(-53.676,17.107),(-52.879,19.455),(-52.236,19.224),(-53.025,16.902),(-53.711,14.547),(-54.294,12.165),(-54.772,9.76),(-55.145,7.336),(-55.412,4.899),(-55.573,2.452),(-55.626,0),(-55.573,-2.452),(-55.412,-4.899),(-55.145,-7.336),(-54.772,-9.76),(-54.294,-12.165),(-53.711,-14.547),(-53.025,-16.902),(-52.236,-19.224)],
  [(-53.678,-19.746),(-54.487,-17.363),(-55.193,-14.944),(-55.791,-12.498),(-56.283,-10.027),(-56.666,-7.537),(-56.94,-5.033),(-57.105,-2.519),(-57.16,0),(-57.105,2.519),(-56.94,5.033),(-56.666,7.537),(-56.283,10.027),(-55.791,12.498),(-55.193,14.944),(-54.487,17.363),(-53.678,19.746),(-53.012,19.506),(-53.812,17.15),(-54.509,14.761),(-55.1,12.344),(-55.586,9.904),(-55.964,7.444),(-56.235,4.971),(-56.398,2.488),(-56.452,0),(-56.398,-2.488),(-56.235,-4.971),(-55.964,-7.444),(-55.586,-9.904),(-55.1,-12.344),(-54.509,-14.761),(-53.812,-17.15),(-53.012,-19.506)],
  [(-54.487,-20.04),(-55.308,-17.621),(-56.023,-15.167),(-56.631,-12.683),(-57.13,-10.176),(-57.519,-7.649),(-57.797,-5.108),(-57.964,-2.556),(-58.02,0),(-57.964,2.556),(-57.797,5.108),(-57.519,7.649),(-57.13,10.176),(-56.631,12.683),(-56.023,15.167),(-55.308,17.621),(-54.487,20.04),(-53.797,19.792),(-54.609,17.401),(-55.315,14.977),(-55.915,12.525),(-56.408,10.049),(-56.792,7.553),(-57.067,5.044),(-57.232,2.524),(-57.287,0),(-57.232,-2.524),(-57.067,-5.044),(-56.792,-7.553),(-56.408,-10.049),(-55.915,-12.525),(-55.315,-14.977),(-54.609,-17.401),(-53.797,-19.792)],
  [(-55.305,-20.337),(-56.138,-17.884),(-56.863,-15.392),(-57.48,-12.872),(-57.986,-10.327),(-58.382,-7.762),(-58.664,-5.183),(-58.833,-2.594),(-58.89,0),(-58.833,2.594),(-58.664,5.183),(-58.382,7.762),(-57.986,10.327),(-57.48,12.872),(-56.863,15.392),(-56.138,17.884),(-55.305,20.337),(-54.59,20.081),(-55.414,17.655),(-56.13,15.196),(-56.739,12.708),(-57.239,10.195),(-57.629,7.663),(-57.908,5.117),(-58.075,2.561),(-58.131,0),(-58.075,-2.561),(-57.908,-5.117),(-57.629,-7.663),(-57.239,-10.195),(-56.739,-12.708),(-56.13,-15.196),(-55.414,-17.655),(-54.59,-20.081)],
  [(-56.131,-20.637),(-56.976,-18.148),(-57.712,-15.62),(-58.338,-13.062),(-58.852,-10.479),(-59.252,-7.878),(-59.539,-5.259),(-59.711,-2.633),(-59.769,0),(-59.711,2.633),(-59.539,5.259),(-59.252,7.878),(-58.852,10.479),(-58.338,13.062),(-57.712,15.62),(-56.976,18.148),(-56.131,20.637),(-55.392,20.372),(-56.227,17.912),(-56.954,15.417),(-57.572,12.892),(-58.079,10.343),(-58.474,7.775),(-58.757,5.191),(-58.927,2.598),(-58.984,0),(-58.927,-2.598),(-58.757,-5.191),(-58.474,-7.775),(-58.079,-10.343),(-57.572,-12.892),(-56.954,-15.417),(-56.227,-17.912),(-55.392,-20.372)])
soi220_oband_tm_strip_ap.add(gdstk.Reference(text_gdsfactorypcomponen, (-60.169,-30.276)))

lib.write_gds('SOI220_oband_TM_strip_apodized_GC_focusing_EBL_v1p0.gds')
